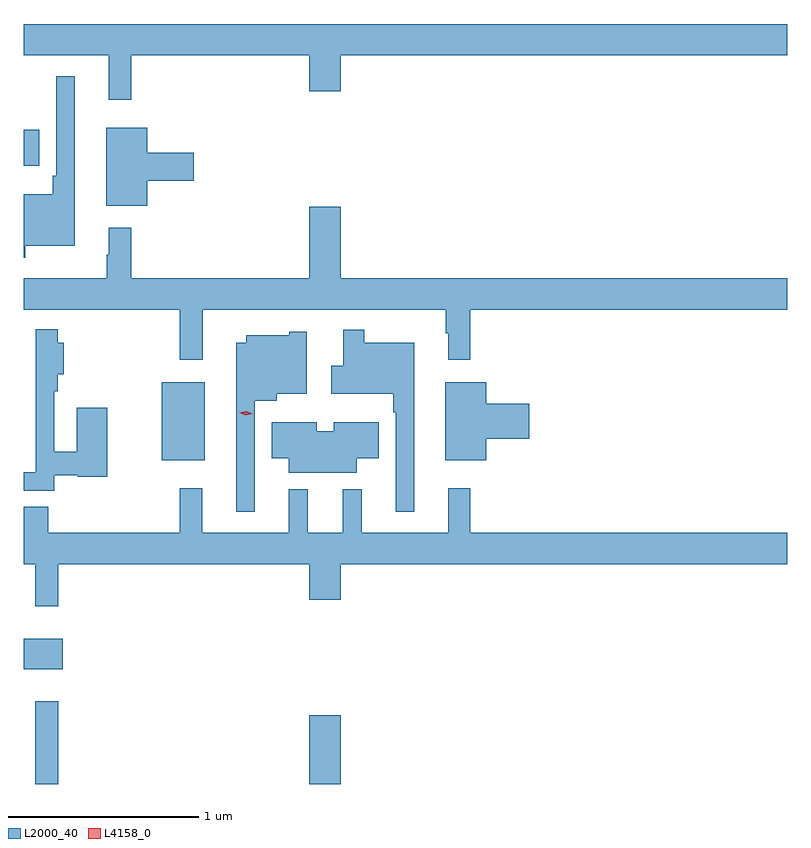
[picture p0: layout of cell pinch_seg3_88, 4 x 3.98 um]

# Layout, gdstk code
import gdstk
lib = gdstk.Library(unit=1e-6, precision=1e-09)
def R(c, l, rs):  # rectangles x0, y0, x1, y1
    for r in rs: c.add(gdstk.rectangle(r[:2], r[2:], *l))
def P(c, l, *ps):  # polygons
    for p in ps: c.add(gdstk.Polygon(p, *l))
L2000_40 = (2000, 40)
L4158_0 = (4158, 0)

pinch_seg3_88 = lib.new_cell('pinch_seg3_88')
R(pinch_seg3_88, L2000_40, [(1074.659,722.408,1074.781,722.842), (1076.096,722.408,1076.26,722.767), (1074.599,723.008,1074.805,723.169), (1075.322,724.103,1075.549,724.513), (1074.599,725.645,1074.682,725.833)])
P(pinch_seg3_88, L2000_40, [(1075.163,726.224),(1076.096,726.224),(1076.096,726.036),(1076.26,726.036),(1076.26,726.224),(1078.599,726.224),(1078.599,726.388),(1074.599,726.388),(1074.599,726.224),(1075.046,726.224),(1075.046,725.991),(1075.163,725.991)],
  [(1074.607,725.228),(1074.868,725.228),(1074.868,726.115),(1074.771,726.115),(1074.771,725.593),(1074.751,725.593),(1074.751,725.497),(1074.599,725.497),(1074.599,725.163),(1074.607,725.163)],
  [(1075.246,725.567),(1075.489,725.567),(1075.489,725.714),(1075.246,725.714),(1075.246,725.845),(1075.031,725.845),(1075.031,725.435),(1075.246,725.435)],
  [(1075.536,724.892),(1076.811,724.892),(1076.811,724.769),(1076.822,724.769),(1076.822,724.629),(1076.939,724.629),(1076.939,724.892),(1078.599,724.892),(1078.599,725.056),(1076.26,725.056),(1076.26,725.431),(1076.096,725.431),(1076.096,725.056),(1075.163,725.056),(1075.163,725.32),(1075.046,725.32),(1075.046,725.18),(1075.035,725.18),(1075.035,725.056),(1074.599,725.056),(1074.599,724.892),(1075.417,724.892),(1075.417,724.629),(1075.536,724.629)],
  [(1074.759,724.026),(1074.882,724.026),(1074.882,724.018),(1075.036,724.018),(1075.036,724.378),(1074.878,724.378),(1074.878,724.147),(1074.759,724.147),(1074.759,724.466),(1074.779,724.466),(1074.779,724.555),(1074.809,724.555),(1074.809,724.72),(1074.779,724.72),(1074.779,724.789),(1074.662,724.789),(1074.662,724.566),(1074.663,724.566),(1074.663,724.041),(1074.599,724.041),(1074.599,723.945),(1074.759,723.945)],
  [(1076.644,724.72),(1076.383,724.72),(1076.383,724.786),(1076.273,724.786),(1076.273,724.599),(1076.21,724.599),(1076.21,724.451),(1076.535,724.451),(1076.535,724.355),(1076.547,724.355),(1076.547,723.834),(1076.644,723.834)],
  [(1075.809,724.415),(1075.924,724.415),(1075.924,724.451),(1076.083,724.451),(1076.083,724.777),(1075.989,724.777),(1075.989,724.759),(1075.766,724.759),(1075.766,724.72),(1075.712,724.72),(1075.712,723.834),(1075.809,723.834)],
  [(1077.022,724.217),(1077.247,724.217),(1077.247,724.4),(1077.022,724.4),(1077.022,724.513),(1076.807,724.513),(1076.807,724.103),(1077.022,724.103)],
  [(1076.344,724.115),(1076.458,724.115),(1076.458,724.303),(1076.222,724.303),(1076.222,724.255),(1076.134,724.255),(1076.134,724.303),(1075.898,724.303),(1075.898,724.115),(1075.988,724.115),(1075.988,724.037),(1076.344,724.037)],
  [(1074.781,723.56),(1076.096,723.56),(1076.096,723.372),(1076.26,723.372),(1076.26,723.56),(1078.599,723.56),(1078.599,723.724),(1076.939,723.724),(1076.939,723.958),(1076.822,723.958),(1076.822,723.724),(1076.369,723.724),(1076.369,723.952),(1076.27,723.952),(1076.27,723.724),(1076.087,723.724),(1076.087,723.952),(1075.988,723.952),(1075.988,723.724),(1075.535,723.724),(1075.535,723.958),(1075.417,723.958),(1075.417,723.724),(1074.728,723.724),(1074.728,723.86),(1074.599,723.86),(1074.599,723.56),(1074.659,723.56),(1074.659,723.339),(1074.781,723.339)])
P(pinch_seg3_88, L4158_0, [(1075.762,724.34),(1075.728,724.353),(1075.727,724.353),(1075.728,724.353),(1075.764,724.36),(1075.798,724.348),(1075.798,724.348),(1075.798,724.348)])

lib.write_gds('pinch_seg3_88.gds')
